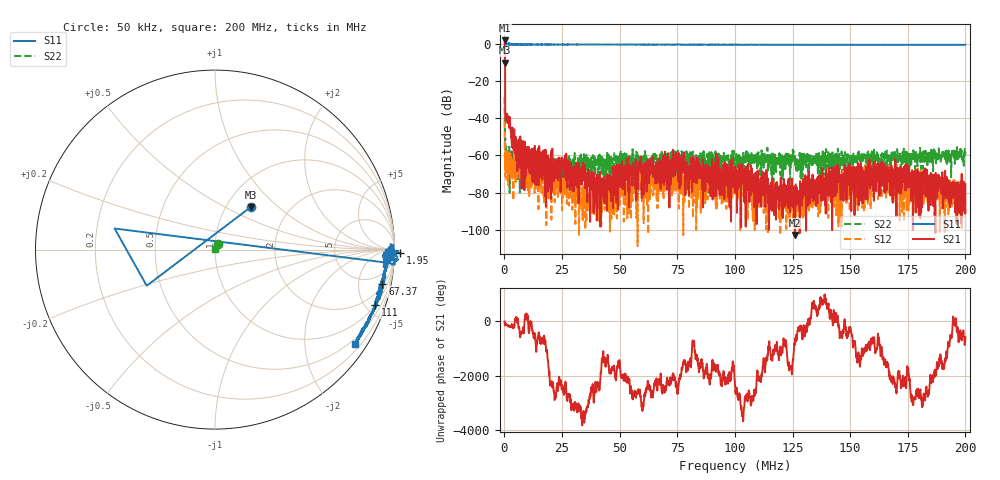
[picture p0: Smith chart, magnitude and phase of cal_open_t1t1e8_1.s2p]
! 26-Feb-26 1:47:03 PM
! E:\VNA_MEASUREMENTS\CAL_S11\CAL_OPEN_T1T1E8_1.S2P
! CHANNEL.1
! TR.MEASUREMENT
! CORRECTED.DATA
# GHZ S RI R 50.0
! FREQ.GHZ  S11RE  S11IM  S21RE  S21IM  S12RE  S12IM  S22RE  S22IM
!; PortSelection: Port_12
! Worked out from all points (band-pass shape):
!   2000 points, 50 kHz to 200 MHz, reference 50 ohm
!   highest |S21| = 1.80 dB at 150 kHz (marker M1); lowest = -102.8 dB at 126.1 MHz (marker M2)
!   |S21| within 3 dB of the highest: 113.7 kHz to 175.8 kHz (62.12 kHz wide, 42.9 % of centre)
!   lowest |S11| = -10.2 dB at 50 kHz (marker M3), VSWR 1.90, Z = 64.9 + j34.1 ohm
!   |S11| at or under -10 dB: start of sweep to 55.78 kHz
!   |S22| runs from -86.7 to -28.6 dB; largest |S21 - S12| = 1.2
!   S11 on the Smith chart (normalised r, x): 50 kHz: 1.30, +0.68; 1.95 MHz: -45, -27; 67.37 MHz: 2.32, -9.33; 111 MHz: 0.99, -5.80; 200 MHz: 0.37, -3.23
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5e-05  0.1998 0.2374  0.4624 -0.1105  0.00386 0.00746  0.0163 0.0335
0.000150025  -0.3804 -0.2013  -1.174 -0.3649  -0.000806 -0.000395  0.0033 -0.00473
0.0012503  0.9774 -0.0137  -0.00726 -0.00336  0.000156 0.000394  0.00101 -0.000598
0.001950475  1.033 -0.02  -0.00879 -0.000379  -0.000225 0.000339  0.000946 -0.000451
0.004751176  0.9861 -0.0588  0.00139 3.11e-05  2.31e-05 0.000242  3.66e-05 -0.00028
0.008352076  0.9576 -0.0484  -1.98e-05 -0.000331  0.000273 4.31e-05  0.000535 -0.00017
0.020055  0.9598 -0.0618  -7.17e-05 -0.000215  -0.000488 -0.000171  -0.000158 0.000231
0.03345835  0.9428 -0.096  0.000137 8.75e-05  5.05e-05 4.7e-06  0.000645 2.18e-05
0.04216053  0.9445 -0.122  3.7e-06 -0.000233  5.51e-05 -3.54e-05  0.000317 -8.69e-05
0.05846461  0.9347 -0.1649  -0.000377 -0.000215  0.000102 3.28e-05  0.000531 0.000353
0.06676668  0.9317 -0.1897  -0.000118 -0.000327  0.000192 2.39e-05  0.000355 0.000295
0.06736683  0.9324 -0.1902  -0.000698 -3.43e-05  -3.44e-05 -0.000107  0.000889 0.000473
0.07436858  0.9342 -0.2104  -0.000397 0.00117  -0.000146 0.000193  0.000814 0.000248
0.08617154  0.9106 -0.2397  0.000178 -0.000116  -8.33e-05 -2.02e-05  0.000795 0.000477
0.09177294  0.9103 -0.2614  6.01e-05 -8.32e-05  3.92e-05 -0.000344  0.000867 0.000183
0.100075  0.9056 -0.28  -6.22e-05 7.66e-05  4.6e-05 9.61e-05  0.000646 0.000253
0.1109777  0.8941 -0.3084  -0.000107 0.000154  -2.52e-05 9.84e-05  0.000629 0.000331
0.1260815  0.8782 -0.3454  3.2e-06 6.5e-06  5.95e-05 -3.49e-05  0.000385 0.00087
0.1333833  0.8707 -0.3625  -9.76e-05 3.37e-05  0.000107 -1.65e-05  0.00033 0.000492
0.1442861  0.8588 -0.3912  -4.49e-05 0.000142  -0.00017 0.000163  0.000518 0.000431
0.1666917  0.8284 -0.4475  6.91e-05 0.000373  0.000186 0.000501  0.000648 0.000546
0.2  0.7774 -0.5247  -0.000112 0.000128  -2.57e-05 2.3e-06  0.000488 0.000944
